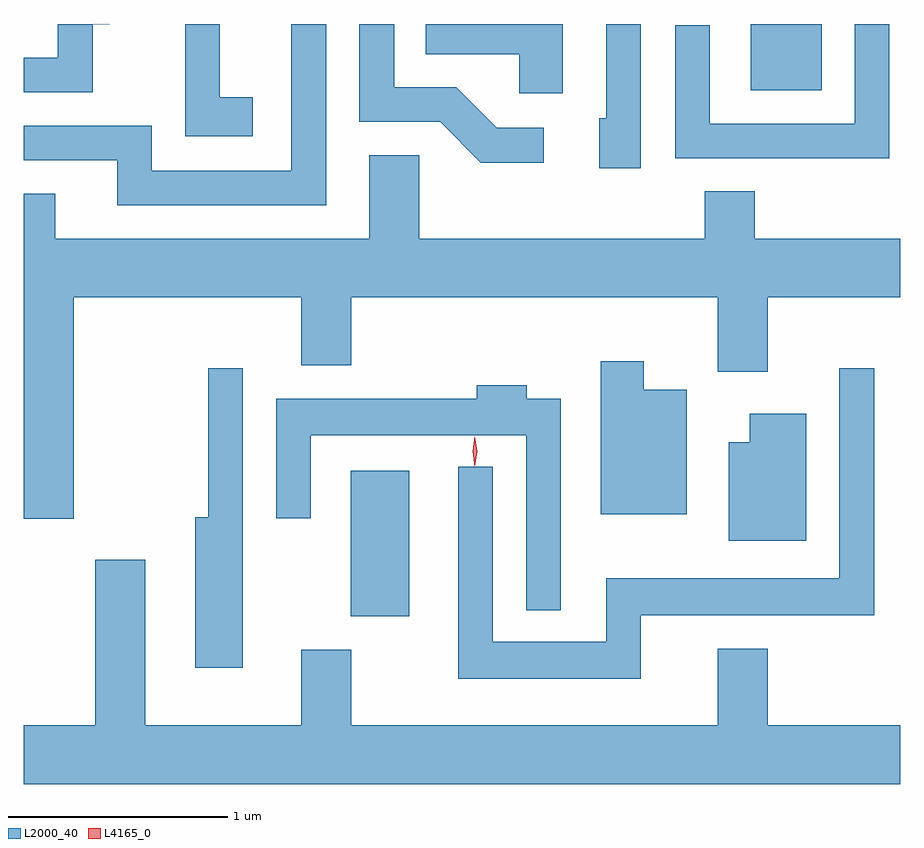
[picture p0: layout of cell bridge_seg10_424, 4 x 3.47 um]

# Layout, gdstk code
import gdstk
lib = gdstk.Library(unit=1e-6, precision=1e-09)
def R(c, l, rs):  # rectangles x0, y0, x1, y1
    for r in rs: c.add(gdstk.rectangle(r[:2], r[2:], *l))
def P(c, l, *ps):  # polygons
    for p in ps: c.add(gdstk.Polygon(p, *l))
L2000_40 = (2000, 40)
L4165_0 = (4165, 0)

bridge_seg10_424 = lib.new_cell('bridge_seg10_424')
R(bridge_seg10_424, L2000_40, [(1420.726,2105.801,1420.994,2106.464), (1422.551,2108.201,1422.874,2108.503), (1419.234,2108.501,1419.239,2108.503)])
P(bridge_seg10_424, L2000_40, [(1423.184,2108.503),(1423.026,2108.503),(1423.026,2108.049),(1422.364,2108.049),(1422.364,2108.498),(1422.206,2108.498),(1422.206,2107.891),(1423.184,2107.891)],
  [(1421.694,2108.503),(1421.068,2108.503),(1421.068,2108.366),(1421.496,2108.366),(1421.496,2108.186),(1421.694,2108.186)],
  [(1419.549,2108.501),(1419.628,2108.501),(1419.628,2108.503),(1419.391,2108.503),(1419.391,2108.349),(1419.234,2108.349),(1419.234,2108.191),(1419.549,2108.191)],
  [(1420.279,2108.169),(1420.129,2108.169),(1420.129,2108.503),(1419.971,2108.503),(1419.971,2107.991),(1420.279,2107.991)],
  [(1422.049,2108.503),(1421.891,2108.503),(1421.891,2108.074),(1421.861,2108.074),(1421.861,2107.846),(1422.049,2107.846)],
  [(1420.614,2108.503),(1420.456,2108.503),(1420.456,2107.834),(1419.819,2107.834),(1419.819,2108.039),(1419.234,2108.039),(1419.234,2107.881),(1419.661,2107.881),(1419.661,2107.676),(1420.614,2107.676)],
  [(1421.608,2108.029),(1421.392,2108.029),(1421.207,2108.214),(1420.924,2108.214),(1420.924,2108.503),(1420.766,2108.503),(1420.766,2108.056),(1421.134,2108.056),(1421.319,2107.871),(1421.608,2107.871)],
  [(1419.464,2107.256),(1420.501,2107.256),(1420.501,2106.946),(1420.729,2106.946),(1420.729,2107.256),(1422.401,2107.256),(1422.401,2106.916),(1422.629,2106.916),(1422.629,2107.256),(1423.234,2107.256),(1423.234,2107.524),(1422.569,2107.524),(1422.569,2107.739),(1422.341,2107.739),(1422.341,2107.524),(1421.039,2107.524),(1421.039,2107.904),(1420.811,2107.904),(1420.811,2107.524),(1419.379,2107.524),(1419.379,2107.729),(1419.234,2107.729),(1419.234,2106.246),(1419.464,2106.246)],
  [(1422.259,2106.834),(1422.064,2106.834),(1422.064,2106.964),(1421.866,2106.964),(1421.866,2106.266),(1422.259,2106.266)],
  [(1422.049,2105.806),(1423.114,2105.806),(1423.114,2106.933),(1422.956,2106.933),(1422.956,2105.974),(1421.891,2105.974),(1421.891,2105.684),(1421.374,2105.684),(1421.374,2106.483),(1421.216,2106.483),(1421.216,2105.516),(1422.049,2105.516)],
  [(1420.234,2106.933),(1420.076,2106.933),(1420.076,2106.254),(1420.016,2106.254),(1420.016,2105.566),(1420.234,2105.566)],
  [(1421.684,2106.794),(1421.529,2106.794),(1421.529,2106.854),(1421.301,2106.854),(1421.301,2106.794),(1420.386,2106.794),(1420.386,2106.248),(1420.544,2106.248),(1420.544,2106.626),(1421.526,2106.626),(1421.526,2105.828),(1421.684,2105.828)],
  [(1422.804,2106.724),(1422.546,2106.724),(1422.546,2106.594),(1422.451,2106.594),(1422.451,2106.146),(1422.804,2106.146)],
  [(1423.234,2105.304),(1422.629,2105.304),(1422.629,2105.654),(1422.401,2105.654),(1422.401,2105.304),(1420.729,2105.304),(1420.729,2105.649),(1420.501,2105.649),(1420.501,2105.304),(1419.789,2105.304),(1419.789,2106.059),(1419.561,2106.059),(1419.561,2105.304),(1419.234,2105.304),(1419.234,2105.036),(1423.234,2105.036)])
P(bridge_seg10_424, L4165_0, [(1421.293,2106.483),(1421.292,2106.484),(1421.283,2106.553),(1421.292,2106.622),(1421.293,2106.623),(1421.293,2106.622),(1421.303,2106.553),(1421.293,2106.484)],
  [(1421.292,2106.487),(1421.283,2106.554),(1421.292,2106.62),(1421.293,2106.62),(1421.293,2106.62),(1421.303,2106.554),(1421.293,2106.487),(1421.293,2106.487)])

lib.write_gds('bridge_seg10_424.gds')
